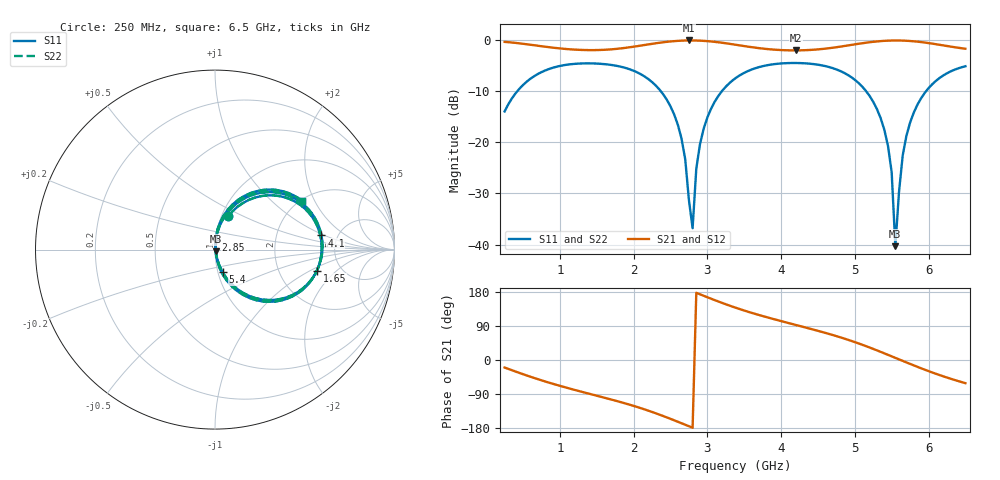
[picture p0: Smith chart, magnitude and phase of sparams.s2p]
! NobuRF kit-ro100-line12: ports 1 "p1", 2 "p2"; 4200 + 4200 steps
# GHz S RI R 50
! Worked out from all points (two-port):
!   126 points, 250 MHz to 6.5 GHz, reference 50 ohm
!   highest |S21| = -0.03 dB at 2.75 GHz (marker M1); lowest = -2.0 dB at 4.2 GHz (marker M2)
!   |S21| within 3 dB of the highest: start of sweep to end of sweep
!   lowest |S11| = -40.3 dB at 5.55 GHz (marker M3), VSWR 1.02, Z = 50.4 - j0.877 ohm
!   |S11| at or under -10 dB: start of sweep to 420.7 MHz; 2.37 GHz to 3.195 GHz (825.6 MHz wide, 29.7 % of centre); 5.155 GHz to 5.965 GHz (810.1 MHz wide, 14.6 % of centre)
!   |S22| runs from -40.3 to -4.4 dB; largest |S21 - S12| = 3e-07
!   S11 on the Smith chart (normalised r, x): 250 MHz: 1.08, +0.42; 1.65 GHz: 3.31, -1.17; 2.85 GHz: 1.00, +0.11; 4.1 GHz: 3.74, +0.92; 5.4 GHz: 1.05, -0.27; 6.5 GHz: 2.05, +1.61
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0.25  0.0744 0.1868  0.9075 -0.3288  0.9075 -0.3288  0.0744 0.1868
0.65  0.3262 0.3022  0.6063 -0.6581  0.6063 -0.6581  0.3262 0.3022
1.3  0.5904 0.0604  0.0827 -0.8004  0.0827 -0.8004  0.5904 0.0604
1.65  0.5678 -0.1168  -0.1676 -0.7936  -0.1676 -0.7936  0.5678 -0.1168
2.35  0.1908 -0.269  -0.767 -0.554  -0.767 -0.554  0.1908 -0.269
2.6  0.0449 -0.1418  -0.9442 -0.2892  -0.9442 -0.2892  0.0449 -0.1418
2.7  0.0135 -0.0669  -0.9823 -0.1589  -0.9823 -0.1589  0.0135 -0.0669
2.75  0.00539 -0.0267  -0.9925 -0.091  -0.9925 -0.091  0.00539 -0.0267
2.8  0.00267 0.0142  -0.9963 -0.0223  -0.9963 -0.0223  0.00267 0.0142
2.85  0.00538 0.0551  -0.9939 0.0463  -0.9939 0.0463  0.00538 0.0551
3.05  0.0669 0.2029  -0.9254 0.3043  -0.9254 0.3043  0.0669 0.2029
3.4  0.2941 0.3205  -0.658 0.6153  -0.658 0.6153  0.2941 0.3205
4.1  0.5932 0.0786  -0.1052 0.791  -0.1052 0.791  0.5932 0.0786
4.2  0.5988 0.0272  -0.0343 0.7961  -0.0343 0.7961  0.5988 0.0272
4.45  0.5748 -0.1019  0.1462 0.7962  0.1462 0.7962  0.5748 -0.1019
5.05  0.2625 -0.2782  0.667 0.64  0.667 0.64  0.2625 -0.2782
5.4  0.0425 -0.1264  0.9414 0.2989  0.9414 0.2989  0.0425 -0.1264
5.5  0.0117 -0.0497  0.9806 0.1669  0.9806 0.1669  0.0117 -0.0497
5.55  0.00414 -0.0087  0.991 0.0981  0.991 0.0981  0.00414 -0.0087
5.65  0.00573 0.0745  0.9925 -0.0409  0.9925 -0.0409  0.00573 0.0745
5.8  0.0482 0.19  0.9478 -0.2401  0.9478 -0.2401  0.0482 0.19
6.5  0.4869 0.2708  0.3997 -0.7243  0.3997 -0.7243  0.4869 0.2708
